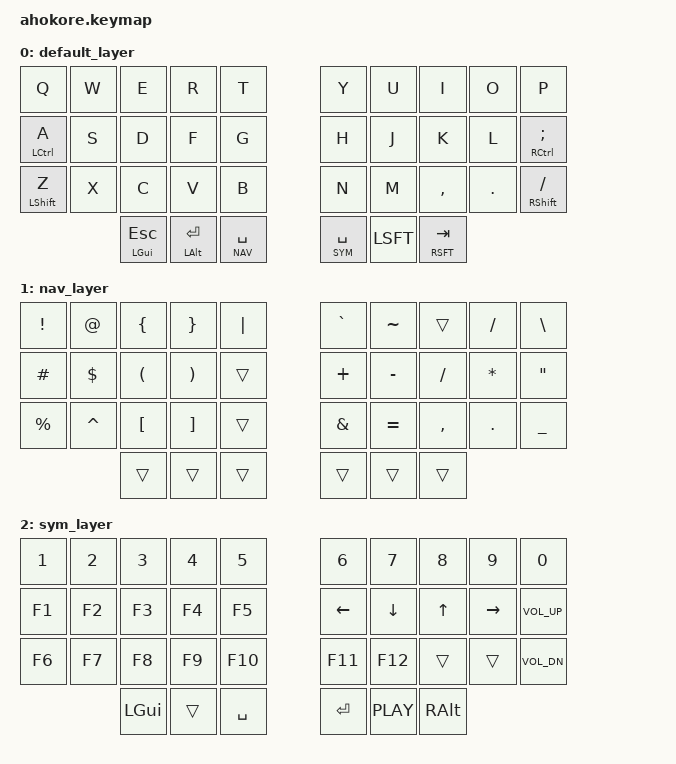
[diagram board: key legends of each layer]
/*
 * Copyright (c) 2020 The ZMK Contributors
 * This keymap by keyboard-magpie
 * SPDX-License-Identifier: MIT
 */

#include <behaviors.dtsi>
#include <dt-bindings/zmk/keys.h>
#include <dt-bindings/zmk/bt.h> 

#define DEFAULT 0
#define NAV 1
#define SYM 2

#define COMBO(NAME, BINDINGS, KEYPOS) \
  combo_##NAME { \
    timeout-ms = <50>; \
    bindings = <BINDINGS>; \
    key-positions = <KEYPOS>; \
  };

&mt {
  flavor = "tap-preferred";
  //tapping_term_ms = <200>;
};

/  {
    combos {
        compatible = "zmk,combos";

          COMBO(escape, &kp ESCAPE, 1 2)
          COMBO(backspace, &kp BACKSPACE, 11 12)
          COMBO(quote, &kp APOSTROPHE, 25 26)
          COMBO(minus, &kp MINUS, 21 22)
          COMBO(less, &kp LESS_THAN, 15 16)
          COMBO(more, &kp GREATER_THAN, 17 18)
          COMBO(score, &kp UNDER, 26 27)
          COMBO(slash, &kp BACKSLASH, 8 9)
          COMBO(btc, &bt BT_CLR, 0 29)


};



        keymap {
                compatible = "zmk,keymap";

                default_layer {
// -----------------------------------------------------------------------------------------
// |  Q  |  W  |  E  |  R  |  T   |   |  Y  |  U   |  I  |  O  |  P  |
// |  A  |  S  |  D  |  F  |  G   |   |  H  |  J   |  K  |  L  |  ;  |
// |  Z  |  X  |  C  |  V  |  B   |   |  N  |  M   |  ,  |  .  |  /  |
//      *  .-------------------------.           .-----------------.
//      *  |ESC/META|ENT/ALT|SPC(SYM)|           |SPC(NUM)|BSPC|TAB|
//      *  '-------------------------'           '-----------------'

                        bindings = <
    &kp Q       &kp W &kp E &kp R &kp T      &kp Y &kp U  &kp I     &kp O   &kp P           
    &mt LCTRL A &kp S &kp D &kp F &kp G      &kp H &kp J  &kp K     &kp L   &mt RCTRL SEMI  
    &mt LSHFT Z &kp X &kp C &kp V &kp B      &kp N &kp M  &kp COMMA &kp DOT &mt RSHFT FSLH  
          &mt LGUI ESC &mt LALT RET &lt NAV SPACE  &lt SYM SPACE &kp LSFT &mt RSFT TAB
                        >;
                };

                nav_layer {


                        bindings = <
    &kp EXCL  &kp AT     &kp LBRC  &kp RBRC  &kp PIPE   &kp GRAVE  &kp TILDE &trans    &kp FSLH  &kp BSLH    
    &kp HASH  &kp DLLR   &kp LPAR  &kp RPAR  &trans     &kp PLUS   &kp MINUS &kp FSLH  &kp ASTRK &kp DQT     
    &kp PRCNT &kp CARET  &kp LBKT  &kp RBKT  &trans     &kp AMPS   &kp EQUAL &kp COMMA &kp DOT   &kp UNDER   
                               &trans    &trans    &trans     &trans   &trans   &trans
                        >;
                };

                sym_layer {

                        bindings = <
    &kp N1    &kp N2    &kp N3    &kp N4      &kp N5      &kp N6    &kp N7     &kp N8    &kp N9      &kp N0         
    &kp F1    &kp F2    &kp F3    &kp F4      &kp F5      &kp LEFT  &kp DOWN   &kp UP    &kp RIGHT   &kp C_VOL_UP   
    &kp F6    &kp F7    &kp F8    &kp F9      &kp F10     &kp F11   &kp F12    &trans    &trans      &kp C_VOL_DN   
                              &kp LGUI  &trans      &kp SPACE   &kp RET   &kp C_PLAY &kp RALT
                        >;
                };
        };
};
